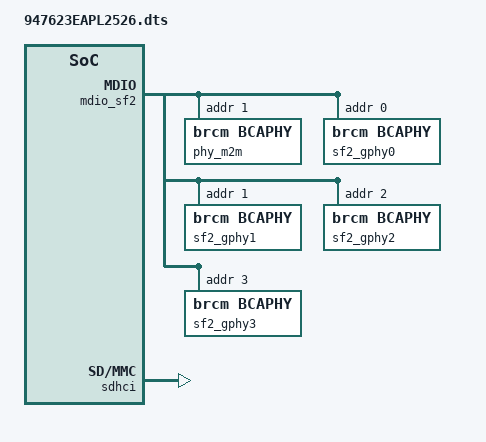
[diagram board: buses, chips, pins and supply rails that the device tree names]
#include "6756.dtsi"

/ {
	memory_controller {
		memcfg = <(BP_DDR_TYPE_DDR4           | \
			BP_DDR_SPEED_1067_15_15_15 | \
			BP_DDR_TOTAL_SIZE_2048MB   | \
			BP_DDR_DEVICE_WIDTH_8      | \
			BP_DDR_TOTAL_WIDTH_16BIT   | \
			BP_DDR_6756_DEFAULT)>;
	};

	buttons {
		compatible = "brcm,buttons";
		ses_button {
			ext_irq = <&bca_extintr 4 GPIO_ACTIVE_LOW (BCA_EXTINTR_TYPE_LOW_LEVEL | BCA_EXTINTR_TYPE_SENSE_EDGE)>;
			release {
				ses_short_period = <0>;
				ses_long_period = <3>;
			};
		};
	};
	switch_sf2_ext:0 {
	};
};

&sysport {
    ethsw_ext = <&switch_sf2_ext>;
};

&mdio_sf2 {
	phy_cascade0:cascade0 {
		reg = <9>;
		phy-reset = <&gpioc 33 GPIO_ACTIVE_LOW>;
		enet-phy-lane-swap;
		status = "okay";
	};
	phy_serdes0:serdes0 {
		phy-handle = <&phy_cascade0>;
		status = "okay";    /* HSGMII 5GE */
	};
	phy_m2m:m2m {
		compatible = "brcm,bcaphy";
		phy-type = "MAC2MAC";
		reg = <1>;
		status = "okay";
		phy-extswitch;
	};
	/* PHYs on external SF2 switch */
	sf2_gphy0:0 {
		compatible = "brcm,bcaphy";
		phy-type = "EGPHY";
		reg = <0>;
		status = "okay";
	};
	sf2_gphy1:1 {
		compatible = "brcm,bcaphy";
		phy-type = "EGPHY";
		reg = <1>;
		status = "okay";
	};
	sf2_gphy2:2 {
		compatible = "brcm,bcaphy";
		phy-type = "EGPHY";
		reg = <2>;
		status = "okay";
	};
	sf2_gphy3:3 {
		compatible = "brcm,bcaphy";
		phy-type = "EGPHY";
		reg = <3>;
		status = "okay";
	};
};

&switch0 {
	pinctrl-names = "default";
	pinctrl-0 = <&a_rgmii_mdc_pin_68 &a_rgmii_mdio_pin_69 &rgmii_pins>;
	pinctrl-1 = <&rgmii_pins>;

	ports {
		port1@1 {
			phy-handle = <&phy_m2m>;
			mii-pinctrl-state = "rgmii";
			phy-mode = "rgmii";
			rgmii-3p3v;
			rx-delay;
			tx-delay;
			link = <&switch_sf2_ext>;           /* root.p1 <--> sf2_ext.p8 */
			shrink-ipg;
			status = "okay";
		};
		port5@5 {
			phy-handle = <&phy_serdes0>;
			status = "okay";
		};
	};
};

&switch_sf2_ext {                       /* linux/uboot: external sf2 */
	unit = <1>;
	sw-type = "SF2_SW";

	compatible = "brcm,bcmbca-extsw";
	reg-names ="parent-rgmii-ctrl",
	           "parent-gpio-pad-ctrl";
	reg = <0x804800ec 0x44>,
	      <0xff800500 0x78>;
	switch-reset = <&gpioc 32 GPIO_ACTIVE_LOW>;

	ports {
		#address-cells = <1>;
		#size-cells = <0>;

		sf2_port0@0 {
			phy-handle = <&sf2_gphy0>;
			reg = <0>;
			mac-type = "SF2MAC";
			phy-mode = "gmii";
			gmii-direct;
			status = "okay";
		};
		sf2_port1@1 {
			phy-handle = <&sf2_gphy1>;
			reg = <1>;
			mac-type = "SF2MAC";
			phy-mode = "gmii";
			gmii-direct;
			status = "okay";
		};
		sf2_port2@2 {
			phy-handle = <&sf2_gphy2>;
			reg = <2>;
			mac-type = "SF2MAC";
			phy-mode = "gmii";
			gmii-direct;
			status = "okay";
		};
		sf2_port3@3 {
			phy-handle = <&sf2_gphy3>;
			reg = <3>;
			mac-type = "SF2MAC";
			phy-mode = "gmii";
			gmii-direct;
			status = "okay";
		};
		sf2_port8@8 {
			management;                     /* sf2_ext.p8 <--> root.p5  when P8_SGMII_SEL=0 */
			reg = <8>;
			mac-type = "SF2MAC";
			shrink-ipg;
			phy-mode = "gmii";
			gmii-direct;
			status = "okay";
		};
	};
};

&sdhci {
	pinctrl-names="default";
	pinctrl-0 = <&emmc_ctrl_pins>;
	status = "okay";
};
